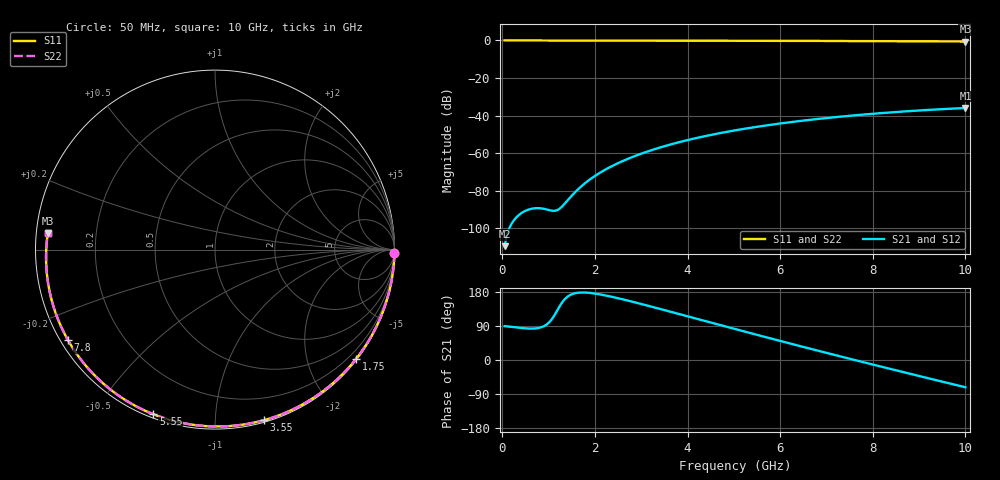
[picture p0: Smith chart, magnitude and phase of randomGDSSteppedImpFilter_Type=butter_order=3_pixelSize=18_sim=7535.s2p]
! freq	dB(S11)	phase(S11)	dB(S12)	phase(S12)
!  dB(S21)	phase(S21)	dB(S22)	phase(S22)
!S-par simulation data
#  GHz  S  DB  R 50
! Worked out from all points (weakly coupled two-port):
!   200 points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, 50 MHz to 10 GHz, reference 50 ohm
!   highest |S21| = -35.95 dB at 10 GHz (marker M1); lowest = -109.5 dB at 50 MHz (marker M2)
!   lowest |S11| = -0.6 dB at 10 GHz (marker M3), VSWR 30.23, Z = 1.66 + j2.47 ohm
!   |S11| at or under -10 dB: nowhere
!   |S22| runs from -0.6 to 0.0 dB; largest |S21 - S12| = 0
!   S11 on the Smith chart (normalised r, x): 50 MHz: open; 1.75 GHz: 0.03, -2.92; 3.55 GHz: 0.02, -1.32; 5.55 GHz: 0.02, -0.69; 7.8 GHz: 0.02, -0.28; 10 GHz: 0.03, +0.05
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0.05  -0.00 -1.1  -109.47 89.4  -109.47 89.4  -0.00 -1.1
0.4  -0.01 -8.8  -92.09 84.7  -92.09 84.7  -0.01 -8.8
0.8  -0.02 -17.5  -89.27 85.0  -89.27 85.0  -0.02 -17.5
1.2  -0.03 -26.2  -90.15 133.7  -90.15 133.7  -0.03 -26.2
1.6  -0.04 -34.7  -80.05 176.8  -80.05 176.8  -0.04 -34.7
1.75  -0.05 -37.8  -76.70 178.1  -76.70 178.1  -0.05 -37.8
2.05  -0.06 -44.1  -71.31 174.4  -71.31 174.4  -0.06 -44.1
2.25  -0.06 -48.2  -68.40 169.8  -68.40 169.8  -0.06 -48.2
2.45  -0.07 -52.3  -65.87 164.4  -65.87 164.4  -0.07 -52.3
2.9  -0.08 -61.4  -61.15 151.0  -61.15 151.0  -0.08 -61.4
3.4  -0.09 -71.2  -57.01 135.0  -57.01 135.0  -0.09 -71.2
3.55  -0.10 -74.1  -55.92 130.1  -55.92 130.1  -0.10 -74.1
4.3  -0.12 -88.2  -51.33 105.5  -51.33 105.5  -0.12 -88.2
5.05  -0.15 -101.8  -47.74 81.0  -47.74 81.0  -0.15 -101.8
5.55  -0.18 -110.6  -45.75 64.8  -45.75 64.8  -0.18 -110.6
6.1  -0.21 -120.0  -43.86 47.1  -43.86 47.1  -0.21 -120.0
6.7  -0.25 -130.1  -42.08 28.2  -42.08 28.2  -0.25 -130.1
7.25  -0.29 -139.3  -40.67 11.0  -40.67 11.0  -0.29 -139.3
7.8  -0.34 -148.4  -39.43 -5.9  -39.43 -5.9  -0.34 -148.4
8.35  -0.39 -157.5  -38.35 -22.6  -38.35 -22.6  -0.39 -157.5
9.2  -0.48 -171.8  -36.96 -48.2  -36.96 -48.2  -0.48 -171.8
10  -0.57 174.3  -35.95 -72.0  -35.95 -72.0  -0.57 174.3
